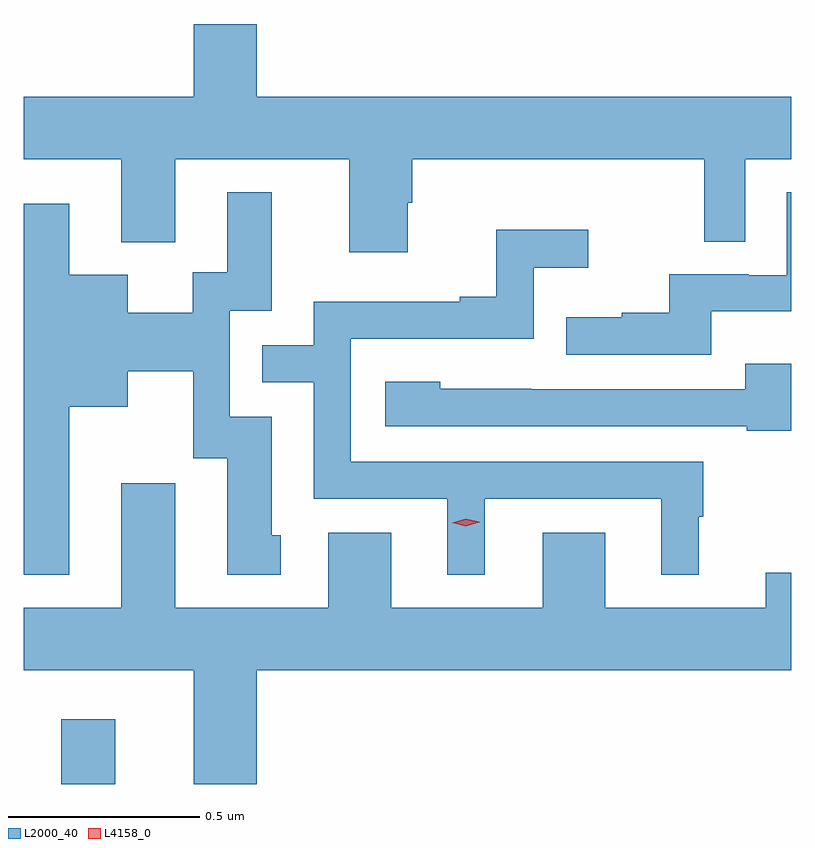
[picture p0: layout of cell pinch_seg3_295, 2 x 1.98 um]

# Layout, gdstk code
import gdstk
lib = gdstk.Library(unit=1e-6, precision=1e-09)
def R(c, l, rs):  # rectangles x0, y0, x1, y1
    for r in rs: c.add(gdstk.rectangle(r[:2], r[2:], *l))
def P(c, l, *ps):  # polygons
    for p in ps: c.add(gdstk.Polygon(p, *l))
L2000_40 = (2000, 40)
L4158_0 = (4158, 0)

pinch_seg3_295 = lib.new_cell('pinch_seg3_295')
R(pinch_seg3_295, L2000_40, [(967.859,724.596,967.999,724.765)])
P(pinch_seg3_295, L2000_40, [(968.761,726.111),(968.774,726.111),(968.774,726.224),(969.534,726.224),(969.534,726.01),(969.642,726.01),(969.642,726.224),(969.761,726.224),(969.761,726.388),(968.368,726.388),(968.368,726.577),(968.204,726.577),(968.204,726.388),(967.761,726.388),(967.761,726.224),(968.015,726.224),(968.015,726.008),(968.155,726.008),(968.155,726.224),(968.609,726.224),(968.609,725.982),(968.761,725.982)],
  [(969.553,725.828),(969.761,725.828),(969.761,726.139),(969.75,726.139),(969.75,725.922),(969.65,725.922),(969.65,725.925),(969.443,725.925),(969.443,725.824),(969.319,725.824),(969.319,725.812),(969.175,725.812),(969.175,725.715),(969.553,725.715)],
  [(967.879,725.579),(968.032,725.579),(968.032,725.672),(968.202,725.672),(968.202,725.445),(968.291,725.445),(968.291,725.142),(968.431,725.142),(968.431,725.244),(968.407,725.244),(968.407,725.553),(968.298,725.553),(968.298,725.829),(968.407,725.829),(968.407,726.139),(968.291,726.139),(968.291,725.93),(968.201,725.93),(968.201,725.824),(968.032,725.824),(968.032,725.923),(967.879,725.923),(967.879,726.109),(967.761,726.109),(967.761,725.141),(967.879,725.141)],
  [(968.962,725.34),(969.422,725.34),(969.422,725.141),(969.52,725.141),(969.52,725.292),(969.532,725.292),(969.532,725.436),(968.613,725.436),(968.613,725.757),(969.09,725.757),(969.09,725.942),(969.232,725.942),(969.232,726.041),(968.992,726.041),(968.992,725.866),(968.897,725.866),(968.897,725.853),(968.517,725.853),(968.517,725.739),(968.383,725.739),(968.383,725.643),(968.517,725.643),(968.517,725.34),(968.864,725.34),(968.864,725.141),(968.962,725.141)],
  [(969.761,725.692),(969.641,725.692),(969.641,725.625),(969.083,725.625),(969.083,725.626),(968.847,725.626),(968.847,725.644),(968.703,725.644),(968.703,725.529),(969.645,725.529),(969.645,725.517),(969.761,725.517)],
  [(968.368,724.892),(969.761,724.892),(969.761,725.147),(969.695,725.147),(969.695,725.056),(969.277,725.056),(969.277,725.251),(969.113,725.251),(969.113,725.056),(968.719,725.056),(968.719,725.251),(968.555,725.251),(968.555,725.056),(968.155,725.056),(968.155,725.38),(968.015,725.38),(968.015,725.056),(967.761,725.056),(967.761,724.892),(968.204,724.892),(968.204,724.596),(968.368,724.596)])
P(pinch_seg3_295, L4158_0, [(968.913,725.268),(968.878,725.277),(968.878,725.277),(968.878,725.277),(968.913,725.288),(968.948,725.279),(968.949,725.278),(968.948,725.278)])

lib.write_gds('pinch_seg3_295.gds')
